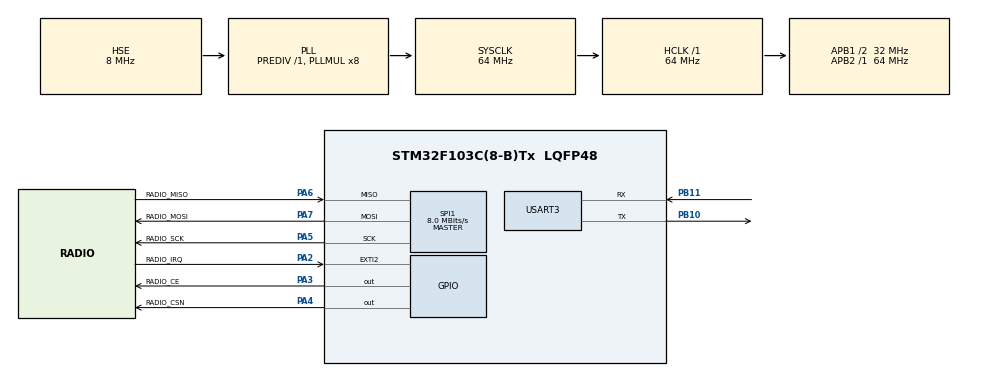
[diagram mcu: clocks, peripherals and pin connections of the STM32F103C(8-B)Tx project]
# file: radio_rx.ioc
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Mcu.Family=STM32F1
Mcu.Name=STM32F103C(8-B)Tx
Mcu.Package=LQFP48
NVIC.PriorityGroup=NVIC_PRIORITYGROUP_4
PA2.GPIO_Label=RADIO_IRQ
PA2.GPIO_ModeDefaultEXTI=GPIO_MODE_IT_FALLING
PA2.Signal=GPXTI2
PA3.GPIO_Label=RADIO_CE
PA3.Signal=GPIO_Output
PA4.GPIO_Label=RADIO_CSN
PA4.Signal=GPIO_Output
PA5.GPIO_Label=RADIO_SCK
PA5.Mode=Full_Duplex_Master
PA5.Signal=SPI1_SCK
PA6.GPIO_Label=RADIO_MISO
PA6.Mode=Full_Duplex_Master
PA6.Signal=SPI1_MISO
PA7.GPIO_Label=RADIO_MOSI
PA7.Mode=Full_Duplex_Master
PA7.Signal=SPI1_MOSI
PB10.Mode=Asynchronous
PB10.Signal=USART3_TX
PB11.Mode=Asynchronous
PB11.Signal=USART3_RX
PD0-OSC_IN.Mode=HSE-External-Oscillator
PD0-OSC_IN.Signal=RCC_OSC_IN
PD1-OSC_OUT.Mode=HSE-External-Oscillator
PD1-OSC_OUT.Signal=RCC_OSC_OUT
ProjectManager.HeapSize=0x200
ProjectManager.StackSize=0x400
ProjectManager.TargetToolchain=STM32CubeIDE
RCC.AHBFreq_Value=64000000
RCC.APB1CLKDivider=RCC_HCLK_DIV2
RCC.APB1Freq_Value=32000000
RCC.APB1TimFreq_Value=64000000
RCC.APB2Freq_Value=64000000
RCC.APB2TimFreq_Value=64000000
RCC.HCLKFreq_Value=64000000
RCC.PLLMUL=RCC_PLL_MUL8
RCC.PLLSourceVirtual=RCC_PLLSOURCE_HSE
RCC.SYSCLKFreq_VALUE=64000000
RCC.SYSCLKSource=RCC_SYSCLKSOURCE_PLLCLK
RCC.USBFreq_Value=64000000
SPI1.BaudRatePrescaler=SPI_BAUDRATEPRESCALER_8
SPI1.CalculateBaudRate=8.0 MBits/s
SPI1.Direction=SPI_DIRECTION_2LINES
SPI1.Mode=SPI_MODE_MASTER
SPI1.VirtualType=VM_MASTER
USART3.VirtualMode=VM_ASYNC
VP_SYS_VS_ND.Mode=No_Debug
board=custom

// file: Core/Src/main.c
/* USER CODE BEGIN Header */
/**
 ******************************************************************************
 * @file           : main.c
 * @brief          : Main program body
 ******************************************************************************
 * @attention
 *
 * Copyright (c) 2024 STMicroelectronics.
 * All rights reserved.
 *
 * This software is licensed under terms that can be found in the LICENSE file
 * in the root directory of this software component.
 * If no LICENSE file comes with this software, it is provided AS-IS.
 *
 ******************************************************************************
 */
/* USER CODE END Header */
#include "main.h"
#include "spi.h"
#include "usart.h"
#include "gpio.h"

/* USER CODE BEGIN Includes */

#include "rf24.h"
#include "rf24_debug.h"
#include <stdio.h>

/* USER CODE END Includes */

/* USER CODE BEGIN PD */

#define SERIAL_UART huart3

/* USER CODE END PD */

void SystemClock_Config(void);
/* USER CODE BEGIN PFP */

int __io_putchar(int ch);

int __io_getchar(void);

/* USER CODE END PFP */

int main(void) {

	/* MCU Configuration--------------------------------------------------------*/

	/* Reset of all peripherals, Initializes the Flash interface and the Systick. */
	HAL_Init();

	/* Configure the system clock */
	SystemClock_Config();

	/* Initialize all configured peripherals */
	MX_GPIO_Init();
	MX_SPI1_Init();
	MX_USART3_UART_Init();
	/* USER CODE BEGIN 2 */

	rf24_dev_t device; /* Module instance */
	rf24_dev_t *p_dev = &device; /* Pointer to module instance */

	/* Device config */

	/* Get default configuration */
	rf24_get_default_config(p_dev);

	/* The SPI2 was chosen in Cube */
	p_dev->platform_setup.hspi = &hspi1;

	/* CSN on pin PC6 */
	p_dev->platform_setup.csn_port = RADIO_CSN_GPIO_Port;
	p_dev->platform_setup.csn_pin = RADIO_CSN_Pin;

	/* IRQ on pin PC7 */
	p_dev->platform_setup.irq_port = RADIO_IRQ_GPIO_Port;
	p_dev->platform_setup.irq_pin = RADIO_IRQ_Pin;

	/* CE on pin PC8 */
	p_dev->platform_setup.ce_port = RADIO_CE_GPIO_Port;
	p_dev->platform_setup.ce_pin = RADIO_CE_Pin;

	p_dev->payload_size = 26;

	rf24_init(p_dev);

	uint8_t addresses[2][5] = { { 0xB9, 0xB7, 0xE7, 0xE9, 0xC2 }, { 0xB9, 0xB7,
			0xE7, 0xE9, 0xC3 } };

	rf24_open_writing_pipe(p_dev, addresses[1]);
	rf24_open_reading_pipe(p_dev, 1, addresses[0]);

	rf24_start_listening(p_dev);

	union {
		uint8_t ints[4];
		float value;
	} uint8_to_float;

	/* USER CODE END 2 */

	/* Infinite loop */
	while (1) {

		/* USER CODE BEGIN 3 */
		rf24_status_t read_status = RF24_UNKNOWN_ERROR;

		uint8_t buffer[26] = { "nada\r\n" };

		if ((rf24_available(p_dev, NULL)) == RF24_SUCCESS) {
			while ((rf24_available(p_dev, NULL)) == RF24_SUCCESS) {
				read_status = rf24_read(p_dev, buffer, p_dev->payload_size);
			}
		}

		if (read_status == RF24_SUCCESS)
			HAL_GPIO_TogglePin(LED_GPIO_Port, LED_Pin);

		if (buffer[0] == 1) {
			printf("buffer[0] == 1\r\n");
		}

		uint8_to_float.ints[3] = buffer[4];
		uint8_to_float.ints[2] = buffer[3];
		uint8_to_float.ints[1] = buffer[2];
		uint8_to_float.ints[0] = buffer[1];

		printf("buffer: %d, %d, %d, %d, %d\r\n", buffer[0], buffer[1],
				buffer[2], buffer[3], buffer[4]);
		printf("uint8_to_float.value: %f\r\n", uint8_to_float.value);

		HAL_Delay(500);
	}
	/* USER CODE END 3 */
}

void SystemClock_Config(void) {
	RCC_OscInitTypeDef RCC_OscInitStruct = { 0 };
	RCC_ClkInitTypeDef RCC_ClkInitStruct = { 0 };

	/** Initializes the RCC Oscillators according to the specified parameters
	 * in the RCC_OscInitTypeDef structure.
	 */
	RCC_OscInitStruct.OscillatorType = RCC_OSCILLATORTYPE_HSE;
	RCC_OscInitStruct.HSEState = RCC_HSE_ON;
	RCC_OscInitStruct.HSEPredivValue = RCC_HSE_PREDIV_DIV1;
	RCC_OscInitStruct.HSIState = RCC_HSI_ON;
	RCC_OscInitStruct.PLL.PLLState = RCC_PLL_ON;
	RCC_OscInitStruct.PLL.PLLSource = RCC_PLLSOURCE_HSE;
	RCC_OscInitStruct.PLL.PLLMUL = RCC_PLL_MUL8;
	if (HAL_RCC_OscConfig(&RCC_OscInitStruct) != HAL_OK) {
		Error_Handler();
	}

	/** Initializes the CPU, AHB and APB buses clocks
	 */
	RCC_ClkInitStruct.ClockType = RCC_CLOCKTYPE_HCLK | RCC_CLOCKTYPE_SYSCLK
			| RCC_CLOCKTYPE_PCLK1 | RCC_CLOCKTYPE_PCLK2;
	RCC_ClkInitStruct.SYSCLKSource = RCC_SYSCLKSOURCE_PLLCLK;
	RCC_ClkInitStruct.AHBCLKDivider = RCC_SYSCLK_DIV1;
	RCC_ClkInitStruct.APB1CLKDivider = RCC_HCLK_DIV2;
	RCC_ClkInitStruct.APB2CLKDivider = RCC_HCLK_DIV1;

	if (HAL_RCC_ClockConfig(&RCC_ClkInitStruct, FLASH_LATENCY_2) != HAL_OK) {
		Error_Handler();
	}
}

/* USER CODE BEGIN 4 */

int __io_putchar(int ch) {
	HAL_UART_Transmit(&SERIAL_UART, (uint8_t*) &ch, 1, HAL_MAX_DELAY);
	return ch;
}

int __io_getchar(void) {
	uint8_t ch = 0;

	/* Clear the Overrun flag just before receiving the first character */
	__HAL_UART_CLEAR_OREFLAG(&SERIAL_UART);

	/* Wait for reception of a character on the USART RX line and echo this
	 * character on console */
	HAL_UART_Receive(&SERIAL_UART, (uint8_t*) &ch, 1, HAL_MAX_DELAY);
	HAL_UART_Transmit(&SERIAL_UART, (uint8_t*) &ch, 1, HAL_MAX_DELAY);
	return ch;
}

/* USER CODE END 4 */

void Error_Handler(void) {
	__disable_irq();
	while (1) {
	}
}
